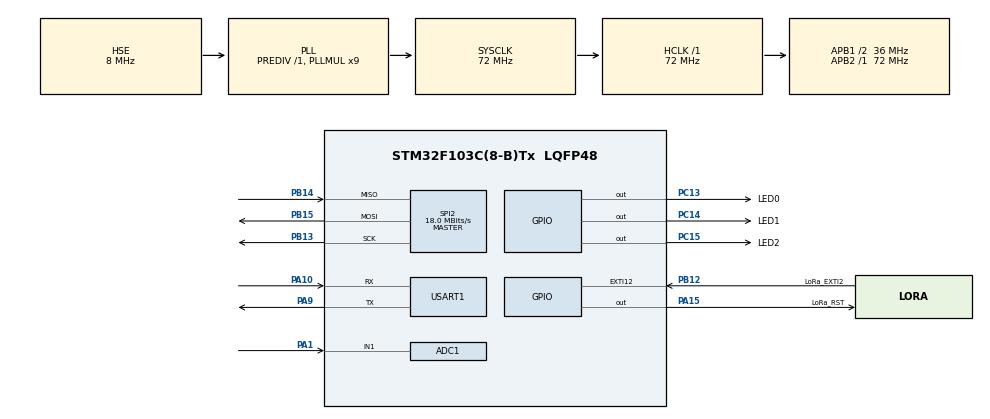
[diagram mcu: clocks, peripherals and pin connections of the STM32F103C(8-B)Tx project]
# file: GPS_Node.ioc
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ADC1.Channel-0\#ChannelRegularConversion=ADC_CHANNEL_1
ADC1.Channel-1\#ChannelRegularConversion=ADC_CHANNEL_VREFINT
ADC1.ContinuousConvMode=ENABLE
ADC1.NbrOfConversion=2
ADC1.NbrOfConversionFlag=1
ADC1.Rank-0\#ChannelRegularConversion=1
ADC1.Rank-1\#ChannelRegularConversion=2
ADC1.SamplingTime-0\#ChannelRegularConversion=ADC_SAMPLETIME_239CYCLES_5
ADC1.SamplingTime-1\#ChannelRegularConversion=ADC_SAMPLETIME_239CYCLES_5
ADC1.master=1
Dma.ADC1.0.Direction=DMA_PERIPH_TO_MEMORY
Dma.ADC1.0.Instance=DMA1_Channel1
Dma.ADC1.0.MemDataAlignment=DMA_MDATAALIGN_WORD
Dma.ADC1.0.MemInc=DMA_MINC_ENABLE
Dma.ADC1.0.Mode=DMA_CIRCULAR
Dma.ADC1.0.PeriphDataAlignment=DMA_PDATAALIGN_WORD
Dma.ADC1.0.PeriphInc=DMA_PINC_DISABLE
Dma.ADC1.0.Priority=DMA_PRIORITY_LOW
Dma.Request0=ADC1
FREERTOS.Tasks01=defaultTask,0,128,StartDefaultTask,Default,NULL,Dynamic,NULL,NULL
Mcu.Family=STM32F1
Mcu.Name=STM32F103C(8-B)Tx
Mcu.Package=LQFP48
NVIC.DMA1_Channel1_IRQn=true\:5\:0\:false\:false\:true\:true\:false\:true\:true
NVIC.EXTI15_10_IRQn=true\:5\:0\:false\:false\:true\:true\:true\:true\:true
NVIC.PriorityGroup=NVIC_PRIORITYGROUP_4
NVIC.TIM1_UP_IRQn=true\:15\:0\:false\:false\:true\:false\:false\:true\:true
NVIC.TimeBase=TIM1_UP_IRQn
NVIC.TimeBaseIP=TIM1
PA1.Signal=ADCx_IN1
PA10.Mode=Asynchronous
PA10.Signal=USART1_RX
PA13.Mode=Serial_Wire
PA13.Signal=SYS_JTMS-SWDIO
PA14.Mode=Serial_Wire
PA14.Signal=SYS_JTCK-SWCLK
PA15.GPIO_Label=LoRa_RST
PA15.GPIO_PuPd=GPIO_PULLUP
PA15.Signal=GPIO_Output
PA9.Mode=Asynchronous
PA9.Signal=USART1_TX
PB12.GPIO_Label=LoRa_EXTI2
PB12.GPIO_PuPd=GPIO_PULLDOWN
PB12.Signal=GPXTI12
PB13.Mode=Full_Duplex_Master
PB13.Signal=SPI2_SCK
PB14.Mode=Full_Duplex_Master
PB14.Signal=SPI2_MISO
PB15.Mode=Full_Duplex_Master
PB15.Signal=SPI2_MOSI
PC13-TAMPER-RTC.GPIO_Label=LED0
PC13-TAMPER-RTC.GPIO_PuPd=GPIO_PULLUP
PC13-TAMPER-RTC.Signal=GPIO_Output
PC14-OSC32_IN.GPIO_Label=LED1
PC14-OSC32_IN.GPIO_PuPd=GPIO_PULLUP
PC14-OSC32_IN.Signal=GPIO_Output
PC15-OSC32_OUT.GPIO_Label=LED2
PC15-OSC32_OUT.GPIO_PuPd=GPIO_PULLUP
PC15-OSC32_OUT.Signal=GPIO_Output
PD0-OSC_IN.Mode=HSE-External-Oscillator
PD0-OSC_IN.Signal=RCC_OSC_IN
PD1-OSC_OUT.Mode=HSE-External-Oscillator
PD1-OSC_OUT.Signal=RCC_OSC_OUT
ProjectManager.HeapSize=0x200
ProjectManager.StackSize=0x400
ProjectManager.TargetToolchain=STM32CubeIDE
RCC.ADCPresc=RCC_ADCPCLK2_DIV6
RCC.AHBFreq_Value=72000000
RCC.APB1CLKDivider=RCC_HCLK_DIV2
RCC.APB1Freq_Value=36000000
RCC.APB1TimFreq_Value=72000000
RCC.APB2Freq_Value=72000000
RCC.APB2TimFreq_Value=72000000
RCC.HCLKFreq_Value=72000000
RCC.PLLMUL=RCC_PLL_MUL9
RCC.PLLSourceVirtual=RCC_PLLSOURCE_HSE
RCC.SYSCLKFreq_VALUE=72000000
RCC.SYSCLKSource=RCC_SYSCLKSOURCE_PLLCLK
RCC.USBFreq_Value=72000000
SH.ADCx_IN1.0=ADC1_IN1,IN1
SPI2.CalculateBaudRate=18.0 MBits/s
SPI2.Direction=SPI_DIRECTION_2LINES
SPI2.Mode=SPI_MODE_MASTER
SPI2.VirtualType=VM_MASTER
USART1.VirtualMode=VM_ASYNC
VP_ADC1_Vref_Input.Mode=IN-Vrefint
VP_FREERTOS_VS_CMSIS_V1.Mode=CMSIS_V1
VP_SYS_VS_tim1.Mode=TIM1
board=custom

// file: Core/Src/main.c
/* USER CODE BEGIN Header */
/**
  ******************************************************************************
  * @file           : main.c
  * @brief          : Main program body
  ******************************************************************************
  * @attention
  *
  * Copyright (c) 2023 STMicroelectronics.
  * All rights reserved.
  *
  * This software is licensed under terms that can be found in the LICENSE file
  * in the root directory of this software component.
  * If no LICENSE file comes with this software, it is provided AS-IS.
  *
  ******************************************************************************
  */
/* USER CODE END Header */
#include "main.h"
#include "cmsis_os.h"
#include "adc.h"
#include "dma.h"
#include "spi.h"
#include "usart.h"
#include "gpio.h"

/* USER CODE BEGIN Includes */
#include <stdio.h>

#include "common.h"
#include "sx1278.h"
/* USER CODE END Includes */

/* USER CODE BEGIN PV */
static const char *TAG = "MAIN";
sx1278_node_t sx1278_node;
/* USER CODE END PV */

void SystemClock_Config(void);
void MX_FREERTOS_Init(void);

int main(void)
{

  /* MCU Configuration--------------------------------------------------------*/

  /* Reset of all peripherals, Initializes the Flash interface and the Systick. */
  HAL_Init();

  /* Configure the system clock */
  SystemClock_Config();

  /* Initialize all configured peripherals */
  MX_GPIO_Init();
  MX_DMA_Init();
  MX_USART1_UART_Init();
  MX_ADC1_Init();
  MX_SPI2_Init();
  /* USER CODE BEGIN 2 */
  char data_log[20];
  sx1278_node.node_id = 10;
  sprintf(data_log, "node_id: %d", sx1278_node.node_id);
  LOG(TAG, data_log);
  /* USER CODE END 2 */

  /* Call init function for freertos objects (in freertos.c) */
  MX_FREERTOS_Init();

  /* Start scheduler */
  osKernelStart();

  /* We should never get here as control is now taken by the scheduler */
  /* Infinite loop */
  while (1)
  {

  }
}

void SystemClock_Config(void)
{
  RCC_OscInitTypeDef RCC_OscInitStruct = {0};
  RCC_ClkInitTypeDef RCC_ClkInitStruct = {0};
  RCC_PeriphCLKInitTypeDef PeriphClkInit = {0};

  /** Initializes the RCC Oscillators according to the specified parameters
  * in the RCC_OscInitTypeDef structure.
  */
  RCC_OscInitStruct.OscillatorType = RCC_OSCILLATORTYPE_HSE;
  RCC_OscInitStruct.HSEState = RCC_HSE_ON;
  RCC_OscInitStruct.HSEPredivValue = RCC_HSE_PREDIV_DIV1;
  RCC_OscInitStruct.HSIState = RCC_HSI_ON;
  RCC_OscInitStruct.PLL.PLLState = RCC_PLL_ON;
  RCC_OscInitStruct.PLL.PLLSource = RCC_PLLSOURCE_HSE;
  RCC_OscInitStruct.PLL.PLLMUL = RCC_PLL_MUL9;
  if (HAL_RCC_OscConfig(&RCC_OscInitStruct) != HAL_OK)
  {
    Error_Handler();
  }

  /** Initializes the CPU, AHB and APB buses clocks
  */
  RCC_ClkInitStruct.ClockType = RCC_CLOCKTYPE_HCLK|RCC_CLOCKTYPE_SYSCLK
                              |RCC_CLOCKTYPE_PCLK1|RCC_CLOCKTYPE_PCLK2;
  RCC_ClkInitStruct.SYSCLKSource = RCC_SYSCLKSOURCE_PLLCLK;
  RCC_ClkInitStruct.AHBCLKDivider = RCC_SYSCLK_DIV1;
  RCC_ClkInitStruct.APB1CLKDivider = RCC_HCLK_DIV2;
  RCC_ClkInitStruct.APB2CLKDivider = RCC_HCLK_DIV1;

  if (HAL_RCC_ClockConfig(&RCC_ClkInitStruct, FLASH_LATENCY_2) != HAL_OK)
  {
    Error_Handler();
  }
  PeriphClkInit.PeriphClockSelection = RCC_PERIPHCLK_ADC;
  PeriphClkInit.AdcClockSelection = RCC_ADCPCLK2_DIV6;
  if (HAL_RCCEx_PeriphCLKConfig(&PeriphClkInit) != HAL_OK)
  {
    Error_Handler();
  }
}

void HAL_TIM_PeriodElapsedCallback(TIM_HandleTypeDef *htim)
{
  if (htim->Instance == TIM1) {
    HAL_IncTick();
  }
}

void Error_Handler(void)
{
  __disable_irq();
  while (1)
  {
  }
}

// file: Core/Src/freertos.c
/* USER CODE BEGIN Header */
/**
 ******************************************************************************
 * File Name          : freertos.c
 * Description        : Code for freertos applications
 ******************************************************************************
 * @attention
 *
 * Copyright (c) 2023 STMicroelectronics.
 * All rights reserved.
 *
 * This software is licensed under terms that can be found in the LICENSE file
 * in the root directory of this software component.
 * If no LICENSE file comes with this software, it is provided AS-IS.
 *
 ******************************************************************************
 */
/* USER CODE END Header */

#include "FreeRTOS.h"
#include "task.h"
#include "main.h"
#include "cmsis_os.h"

/* USER CODE BEGIN Includes */
#include <stdio.h>
#include <string.h>

#include "common.h"
#include "adc.h"
#include "sx1278.h"
/* USER CODE END Includes */

/* USER CODE BEGIN PM */
#define VREFINT (1.21)
#define ADC_RESOLUTION (4095.0)
#define RATIO (1.3)
#define VCC (3.3)
/* USER CODE END PM */

/* USER CODE BEGIN Variables */
static const char *TAG = "FREERTOS";
extern sx1278_node_t sx1278_node;
/* USER CODE END Variables */
osThreadId defaultTaskHandle;

/* USER CODE BEGIN FunctionPrototypes */
void peripheral_task(void const *arg);
void sx1278_task(void const *arg);
/* USER CODE END FunctionPrototypes */

void StartDefaultTask(void const *argument);

void MX_FREERTOS_Init(void); /* (MISRA C 2004 rule 8.1) */

/* GetIdleTaskMemory prototype (linked to static allocation support) */
void vApplicationGetIdleTaskMemory(StaticTask_t **ppxIdleTaskTCBBuffer, StackType_t **ppxIdleTaskStackBuffer, uint32_t *pulIdleTaskStackSize);

/* USER CODE BEGIN GET_IDLE_TASK_MEMORY */
static StaticTask_t xIdleTaskTCBBuffer;
static StackType_t xIdleStack[configMINIMAL_STACK_SIZE];

void vApplicationGetIdleTaskMemory(StaticTask_t **ppxIdleTaskTCBBuffer, StackType_t **ppxIdleTaskStackBuffer, uint32_t *pulIdleTaskStackSize)
{
  *ppxIdleTaskTCBBuffer = &xIdleTaskTCBBuffer;
  *ppxIdleTaskStackBuffer = &xIdleStack[0];
  *pulIdleTaskStackSize = configMINIMAL_STACK_SIZE;
  /* place for user code */
}
/* USER CODE END GET_IDLE_TASK_MEMORY */

void MX_FREERTOS_Init(void)
{

  /* Create the thread(s) */
  /* definition and creation of defaultTask */
  osThreadDef(defaultTask, StartDefaultTask, osPriorityNormal, 0, 128);
  defaultTaskHandle = osThreadCreate(osThread(defaultTask), NULL);

  /* USER CODE BEGIN RTOS_THREADS */
  /* add threads, ... */
  xTaskCreate((TaskFunction_t)(&peripheral_task), "PERIPHERAL", 256, NULL, 10, NULL);
  xTaskCreate((TaskFunction_t)(&sx1278_task), "SX1278", 256, NULL, 9, NULL);
  /* USER CODE END RTOS_THREADS */
}

void StartDefaultTask(void const *argument)
{
  /* USER CODE BEGIN StartDefaultTask */
  char data_log[20];
  sprintf(data_log, "Default task");

  /* Infinite loop */
  for (;;)
  {
    LOG(TAG, data_log);
    HAL_Delay(1000);
  }
  /* USER CODE END StartDefaultTask */
}

/* USER CODE BEGIN Application */
void peripheral_task(void const *arg)
{
  /* USER CODE BEGIN StartDefaultTask */
  static uint32_t adc_val[22] = {0};
  static uint16_t ADC_VREF_mV = 3300;
  static float battery = 0;
  char data_log[40];

  memset(data_log, 0, 40 * sizeof(char));
  sprintf(data_log, "Peripheral task");
  LOG(TAG, data_log);

  volatile uint32_t time_keeper_1 = HAL_GetTick();
  /* Infinite loop */
  for (;;)
  {
    HAL_ADC_Start_DMA(&hadc1, adc_val, 20);
    time_keeper_1 = HAL_GetTick();
    while ((HAL_GetTick() - time_keeper_1) <= 3000)
    {
      adc_val[20] = 0;
      adc_val[21] = 0;
      for (uint8_t i = 0; i < 20; i += 2)
      {
        adc_val[20] += adc_val[i];
        adc_val[21] += adc_val[i + 1];
      }
      adc_val[20] /= 10;
      adc_val[21] /= 10;

      ADC_VREF_mV = (uint16_t)(VREFINT * ADC_RESOLUTION * 1000 / adc_val[21]) - 130;
      battery = (float)(((float)adc_val[20] * RATIO * ADC_VREF_mV / ADC_RESOLUTION) / 1000);
      ftoa(battery, sx1278_node.battery, 2);

      /* Logging data */
      sprintf(data_log, "Vref: %d, Vbat: %s", ADC_VREF_mV, sx1278_node.battery);
      LOG(TAG, data_log);
      HAL_Delay(1000);
    }

    HAL_ADC_Stop_DMA(&hadc1);
    HAL_GPIO_TogglePin(LED0_GPIO_Port, LED0_Pin);
    HAL_Delay(2000);
  }
  /* USER CODE END StartDefaultTask */
}

void sx1278_task(void const *arg)
{
  /* USER CODE BEGIN StartDefaultTask */
  char data_log[40] = {0};

  sprintf(data_log, "SX1278 Task");
  LOG(TAG, data_log);

  sprintf(data_log, "for loop in sx1278_task");
  for (;;)
  {
    LOG(TAG, data_log);
    HAL_Delay(500);
  }

  /* USER CODE END StartDefaultTask */
}
/* USER CODE END Application */
